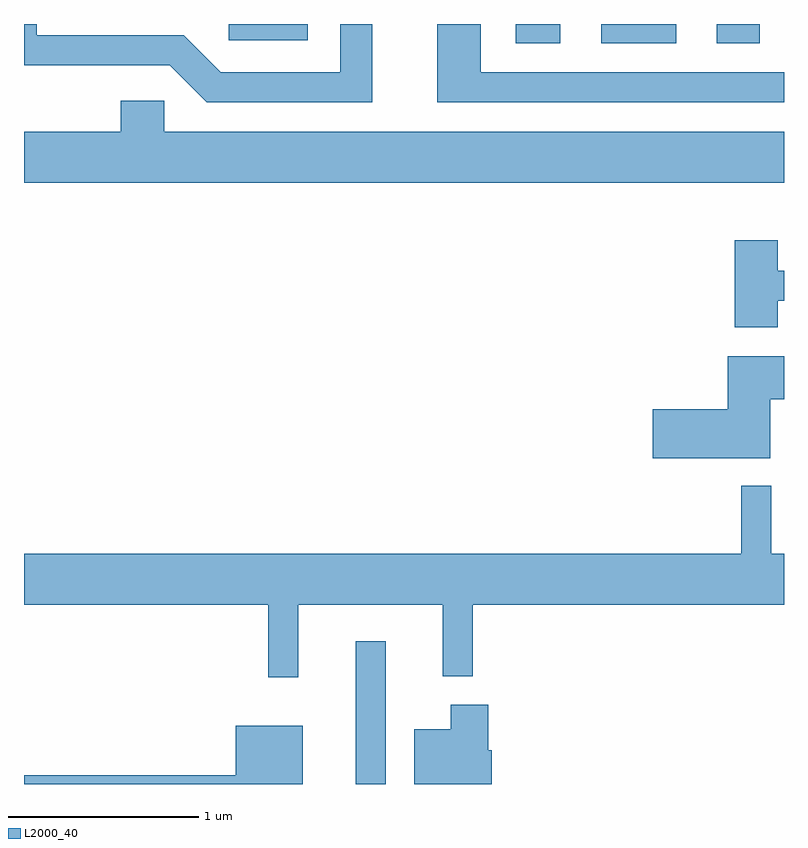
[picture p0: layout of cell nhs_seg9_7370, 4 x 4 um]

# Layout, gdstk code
import gdstk
lib = gdstk.Library(unit=1e-6, precision=1e-09)
def R(c, l, rs):  # rectangles x0, y0, x1, y1
    for r in rs: c.add(gdstk.rectangle(r[:2], r[2:], *l))
def P(c, l, *ps):  # polygons
    for p in ps: c.add(gdstk.Polygon(p, *l))
L2000_40 = (2000, 40)

nhs_seg9_7370 = lib.new_cell('nhs_seg9_7370')
R(nhs_seg9_7370, L2000_40, [(405.356,1986.432,405.514,1987.183), (406.198,1990.331,406.434,1990.432), (406.648,1990.331,407.044,1990.432), (407.256,1990.331,407.484,1990.432), (404.688,1990.346,405.104,1990.432)])
P(nhs_seg9_7370, L2000_40, [(407.611,1990.179),(406.014,1990.179),(406.014,1990.432),(405.786,1990.432),(405.786,1990.021),(407.611,1990.021)],
  [(405.444,1990.432),(405.276,1990.432),(405.276,1990.179),(404.647,1990.179),(404.452,1990.374),(403.679,1990.374),(403.679,1990.432),(403.611,1990.432),(403.611,1990.216),(404.379,1990.216),(404.574,1990.021),(405.444,1990.021)],
  [(407.611,1989.864),(404.349,1989.864),(404.349,1990.029),(404.121,1990.029),(404.121,1989.864),(403.611,1989.864),(403.611,1989.596),(407.611,1989.596)],
  [(407.579,1988.976),(407.611,1988.976),(407.611,1989.134),(407.579,1989.134),(407.579,1989.294),(407.351,1989.294),(407.351,1988.836),(407.579,1988.836)],
  [(407.539,1988.456),(407.611,1988.456),(407.611,1988.684),(407.316,1988.684),(407.316,1988.404),(406.921,1988.404),(406.921,1988.146),(407.539,1988.146)],
  [(405.054,1987.376),(405.816,1987.376),(405.816,1986.998),(405.974,1986.998),(405.974,1987.376),(407.611,1987.376),(407.611,1987.644),(407.544,1987.644),(407.544,1988.003),(407.386,1988.003),(407.386,1987.644),(403.611,1987.644),(403.611,1987.376),(404.896,1987.376),(404.896,1986.993),(405.054,1986.993)],
  [(406.074,1986.609),(406.054,1986.609),(406.054,1986.849),(405.856,1986.849),(405.856,1986.719),(405.666,1986.719),(405.666,1986.432),(406.074,1986.432)],
  [(405.079,1986.739),(404.726,1986.739),(404.726,1986.479),(403.611,1986.479),(403.611,1986.432),(405.079,1986.432)])

lib.write_gds('nhs_seg9_7370.gds')
